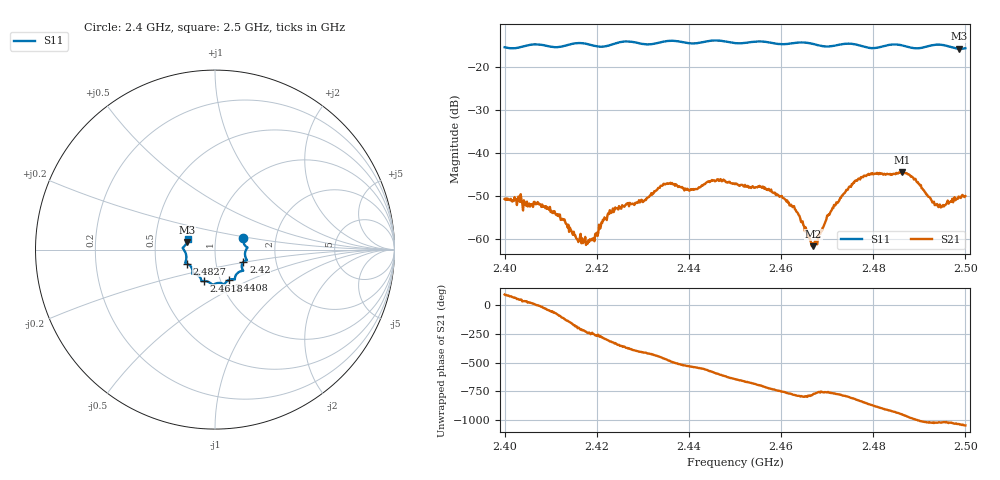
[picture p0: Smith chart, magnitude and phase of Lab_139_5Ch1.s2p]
# Hz S RI R 50
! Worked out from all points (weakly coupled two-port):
!   601 points, 2.4 GHz to 2.5 GHz, reference 50 ohm
!   highest |S21| = -44.44 dB at 2.4863 GHz (marker M1); lowest = -61.6 dB at 2.467 GHz (marker M2)
!   lowest |S11| = -15.8 dB at 2.4987 GHz (marker M3), VSWR 1.39, Z = 36.4 + j3.16 ohm
!   |S11| at or under -10 dB: start of sweep to end of sweep
!   S12 and S22 are empty: the file has one direction only
!   S11 on the Smith chart (normalised r, x): 2.4 GHz: 1.36, +0.17; 2.42 GHz: 1.36, -0.19; 2.4408 GHz: 1.10, -0.39; 2.4618 GHz: 0.84, -0.30; 2.4827 GHz: 0.72, -0.12; 2.5 GHz: 0.73, +0.09
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2.4e9  0.1561 0.0622  -4.5e-05 0.00292  0 0  0 0
2.409333e9  0.1737 -6.2e-05  0.00174 -0.00155  0 0  0 0
2.416667e9  0.178 -0.0595  -0.00078 0.00045  0 0  0 0
2.42e9  0.1579 -0.0693  -2.99e-05 0.00119  0 0  0 0
2.423e9  0.1491 -0.0984  0.00147 0.00137  0 0  0 0
2.433333e9  0.112 -0.1522  0.00036 -0.00392  0 0  0 0
2.435833e9  0.1107 -0.1661  -0.00247 -0.0037  0 0  0 0
2.440833e9  0.0788 -0.169  -0.00376 -0.000194  0 0  0 0
2.445167e9  0.0529 -0.1938  -0.00354 0.00322  0 0  0 0
2.45e9  0.0279 -0.1857  0.00103 0.00422  0 0  0 0
2.456e9  -0.0145 -0.1952  0.00395 0.001  0 0  0 0
2.461833e9  -0.0602 -0.1749  0.00163 -0.00185  0 0  0 0
2.466667e9  -0.0769 -0.1686  0.000363 -0.000749  0 0  0 0
2.467e9  -0.0776 -0.1661  0.000509 -0.000658  0 0  0 0
2.4715e9  -0.1101 -0.1359  0.00165 -0.00188  0 0  0 0
2.475833e9  -0.1264 -0.132  -0.000206 -0.0045  0 0  0 0
2.482667e9  -0.1573 -0.0779  -0.00556 0.000616  0 0  0 0
2.483333e9  -0.1614 -0.0764  -0.00551 0.00134  0 0  0 0
2.486333e9  -0.1635 -0.0663  -0.00371 0.00471  0 0  0 0
2.493833e9  -0.1802 0.00772  0.00136 0.00218  0 0  0 0
2.498667e9  -0.1558 0.0423  0.00209 0.00224  0 0  0 0
2.5e9  -0.1519 0.0616  0.0026 0.00181  0 0  0 0
